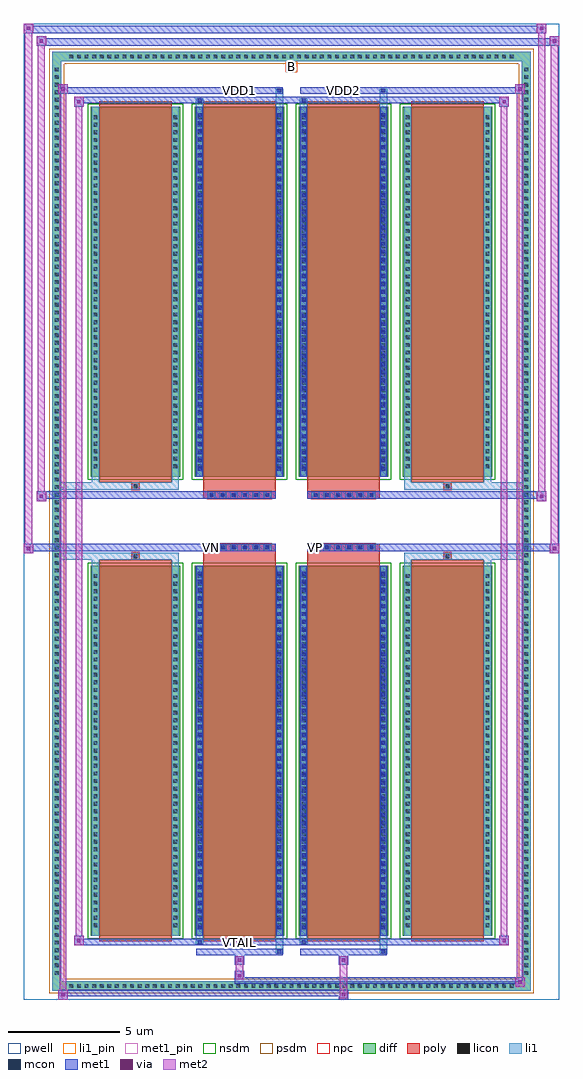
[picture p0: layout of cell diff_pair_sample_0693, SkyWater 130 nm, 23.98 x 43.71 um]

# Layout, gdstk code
import gdstk
lib = gdstk.Library(unit=1e-6, precision=5e-09)
def R(c, l, rs):  # rectangles x0, y0, x1, y1
    for r in rs: c.add(gdstk.rectangle(r[:2], r[2:], *l))
def A(c, l, x, y, w, h, nx, ny, dx, dy):  # array of equal rectangles
    R(c, l, [(x+i*dx, y+j*dy, x+i*dx+w, y+j*dy+h) for i in range(nx) for j in range(ny)])
def P(c, l, *ps):  # polygons
    for p in ps: c.add(gdstk.Polygon(p, *l))
pwell = (64, 44)
diff = (65, 20)
poly = (66, 20)
licon = (66, 44)
li1_pin = (67, 16)
li1 = (67, 20)
mcon = (67, 44)
met1_pin = (68, 16)
met1 = (68, 20)
via = (68, 44)
met2 = (69, 20)
nsdm = (93, 44)
psdm = (94, 20)
npc = (95, 20)

diff_pair_sample_0693 = lib.new_cell('diff_pair_sample_0693')
R(diff_pair_sample_0693, pwell, [(-11.99,-21.42,11.99,22.29), (-9.31,-19.61,-0.01,-0.805), (0.01,-19.61,9.31,-0.805), (-9.31,0.805,-0.01,19.61), (0.01,0.805,9.31,19.61)])
A(diff_pair_sample_0693, diff, -10.065, -21.02, 0.41, 0.41, 59, 2, 0.34, 41.63)
A(diff_pair_sample_0693, diff, -10.72, -20.435, 0.41, 0.41, 1, 120, 0, 0.34)
A(diff_pair_sample_0693, diff, 10.31, -20.435, 0.41, 0.41, 1, 120, 0, 0.34)
A(diff_pair_sample_0693, diff, -9, -18.565, 4.02, 16.58, 4, 2, 4.66, 20.55)
R(diff_pair_sample_0693, diff, [(-10.065,-21.02,10.065,-20.61), (-10.72,-20.435,-10.31,20.435), (10.31,-20.435,10.72,20.435), (-10.065,20.61,10.065,21.02)])
P(diff_pair_sample_0693, diff, [(10.72,21.02),(-10.72,21.02),(-10.72,-20.61),(-10.31,-20.61),(-10.31,20.61),(10.31,20.61),(10.31,-20.61),(-10.31,-20.61),(-10.72,-20.61),(-10.72,-21.02),(10.72,-21.02)])
A(diff_pair_sample_0693, poly, -8.61, -18.815, 3.24, 17.08, 4, 2, 4.66, 20.55)
A(diff_pair_sample_0693, poly, -3.745, -1.335, 0.33, 0.33, 6, 2, 0.5, 2.34)
A(diff_pair_sample_0693, poly, 0.915, -1.335, 0.33, 0.33, 6, 2, 0.5, 2.34)
R(diff_pair_sample_0693, poly, [(-7.155,-1.735,-6.825,-1.405), (-7.155,-1.735,-6.825,-1.405), (-3.95,-1.735,-0.71,-1.335), (0.71,-1.735,3.95,-1.335), (6.825,-1.735,7.155,-1.405), (6.825,-1.735,7.155,-1.405), (-3.95,-1.335,-0.71,-1.005), (0.71,-1.335,3.95,-1.005), (-3.95,1.005,-0.71,1.335), (0.71,1.005,3.95,1.335), (-3.95,1.335,-0.71,1.735), (0.71,1.335,3.95,1.735), (-7.155,1.405,-6.825,1.735), (-7.155,1.405,-6.825,1.735), (6.825,1.405,7.155,1.735), (6.825,1.405,7.155,1.735)])
A(diff_pair_sample_0693, licon, -9.945, -20.9, 0.17, 0.17, 59, 2, 0.34, 41.63)
A(diff_pair_sample_0693, licon, -10.6, -20.315, 0.17, 0.17, 1, 120, 0, 0.34)
A(diff_pair_sample_0693, licon, 10.43, -20.315, 0.17, 0.17, 1, 120, 0, 0.34)
A(diff_pair_sample_0693, licon, -8.86, -18.18, 0.17, 0.17, 1, 47, 0, 0.34)
A(diff_pair_sample_0693, licon, -5.29, -18.18, 0.17, 0.17, 1, 47, 0, 0.34)
A(diff_pair_sample_0693, licon, -4.2, -18.18, 0.17, 0.17, 1, 47, 0, 0.34)
A(diff_pair_sample_0693, licon, -0.63, -18.18, 0.17, 0.17, 1, 47, 0, 0.34)
A(diff_pair_sample_0693, licon, 0.46, -18.18, 0.17, 0.17, 1, 47, 0, 0.34)
A(diff_pair_sample_0693, licon, 4.03, -18.18, 0.17, 0.17, 1, 47, 0, 0.34)
A(diff_pair_sample_0693, licon, 5.12, -18.18, 0.17, 0.17, 1, 47, 0, 0.34)
A(diff_pair_sample_0693, licon, 8.69, -18.18, 0.17, 0.17, 1, 47, 0, 0.34)
A(diff_pair_sample_0693, licon, -3.665, -1.255, 0.17, 0.17, 6, 2, 0.5, 2.34)
A(diff_pair_sample_0693, licon, 0.995, -1.255, 0.17, 0.17, 6, 2, 0.5, 2.34)
A(diff_pair_sample_0693, licon, -8.86, 2.37, 0.17, 0.17, 1, 47, 0, 0.34)
A(diff_pair_sample_0693, licon, -5.29, 2.37, 0.17, 0.17, 1, 47, 0, 0.34)
A(diff_pair_sample_0693, licon, -4.2, 2.37, 0.17, 0.17, 1, 47, 0, 0.34)
A(diff_pair_sample_0693, licon, -0.63, 2.37, 0.17, 0.17, 1, 47, 0, 0.34)
A(diff_pair_sample_0693, licon, 0.46, 2.37, 0.17, 0.17, 1, 47, 0, 0.34)
A(diff_pair_sample_0693, licon, 4.03, 2.37, 0.17, 0.17, 1, 47, 0, 0.34)
A(diff_pair_sample_0693, licon, 5.12, 2.37, 0.17, 0.17, 1, 47, 0, 0.34)
A(diff_pair_sample_0693, licon, 8.69, 2.37, 0.17, 0.17, 1, 47, 0, 0.34)
R(diff_pair_sample_0693, licon, [(-7.075,-1.655,-6.905,-1.485), (6.905,-1.655,7.075,-1.485), (-7.075,1.485,-6.905,1.655), (6.905,1.485,7.075,1.655)])
R(diff_pair_sample_0693, li1_pin, [(-0.25,20.11,0.25,20.61)])
A(diff_pair_sample_0693, li1, -10.025, -20.98, 0.33, 0.33, 59, 2, 0.34, 41.63)
A(diff_pair_sample_0693, li1, -10.68, -20.395, 0.33, 0.33, 1, 120, 0, 0.34)
A(diff_pair_sample_0693, li1, 10.35, -20.395, 0.33, 0.33, 1, 120, 0, 0.34)
A(diff_pair_sample_0693, li1, -4.2, -18.28, 0.17, 0.17, 1, 45, 0, 0.36)
A(diff_pair_sample_0693, li1, -0.63, -18.28, 0.17, 0.17, 1, 45, 0, 0.36)
A(diff_pair_sample_0693, li1, 0.46, -18.28, 0.17, 0.17, 1, 45, 0, 0.36)
A(diff_pair_sample_0693, li1, 4.03, -18.28, 0.17, 0.17, 1, 45, 0, 0.36)
A(diff_pair_sample_0693, li1, -8.94, -18.26, 0.33, 0.33, 1, 47, 0, 0.34)
A(diff_pair_sample_0693, li1, -5.37, -18.26, 0.33, 0.33, 1, 47, 0, 0.34)
A(diff_pair_sample_0693, li1, -4.28, -18.26, 0.33, 0.33, 1, 47, 0, 0.34)
A(diff_pair_sample_0693, li1, -0.71, -18.26, 0.33, 0.33, 1, 47, 0, 0.34)
A(diff_pair_sample_0693, li1, 0.38, -18.26, 0.33, 0.33, 1, 47, 0, 0.34)
A(diff_pair_sample_0693, li1, 3.95, -18.26, 0.33, 0.33, 1, 47, 0, 0.34)
A(diff_pair_sample_0693, li1, 5.04, -18.26, 0.33, 0.33, 1, 47, 0, 0.34)
A(diff_pair_sample_0693, li1, 8.61, -18.26, 0.33, 0.33, 1, 47, 0, 0.34)
A(diff_pair_sample_0693, li1, -3.745, -1.335, 0.33, 0.33, 6, 2, 0.5, 2.34)
A(diff_pair_sample_0693, li1, 0.915, -1.335, 0.33, 0.33, 6, 2, 0.5, 2.34)
A(diff_pair_sample_0693, li1, -4.2, 2.27, 0.17, 0.17, 1, 45, 0, 0.36)
A(diff_pair_sample_0693, li1, -0.63, 2.27, 0.17, 0.17, 1, 45, 0, 0.36)
A(diff_pair_sample_0693, li1, 0.46, 2.27, 0.17, 0.17, 1, 45, 0, 0.36)
A(diff_pair_sample_0693, li1, 4.03, 2.27, 0.17, 0.17, 1, 45, 0, 0.36)
A(diff_pair_sample_0693, li1, -8.94, 2.29, 0.33, 0.33, 1, 47, 0, 0.34)
A(diff_pair_sample_0693, li1, -5.37, 2.29, 0.33, 0.33, 1, 47, 0, 0.34)
A(diff_pair_sample_0693, li1, -4.28, 2.29, 0.33, 0.33, 1, 47, 0, 0.34)
A(diff_pair_sample_0693, li1, -0.71, 2.29, 0.33, 0.33, 1, 47, 0, 0.34)
A(diff_pair_sample_0693, li1, 0.38, 2.29, 0.33, 0.33, 1, 47, 0, 0.34)
A(diff_pair_sample_0693, li1, 3.95, 2.29, 0.33, 0.33, 1, 47, 0, 0.34)
A(diff_pair_sample_0693, li1, 5.04, 2.29, 0.33, 0.33, 1, 47, 0, 0.34)
A(diff_pair_sample_0693, li1, 8.61, 2.29, 0.33, 0.33, 1, 47, 0, 0.34)
R(diff_pair_sample_0693, li1, [(-10.72,-21.02,-10.31,-20.61), (-10.72,-21.02,-10.31,-20.61), (-10.31,-21.02,10.31,-20.61), (10.31,-21.02,10.72,-20.61), (10.31,-21.02,10.72,-20.61), (-10.72,-20.61,-10.31,20.61), (10.31,-20.61,10.72,20.61), (-0.71,-19.37,-0.38,-18.565), (-0.63,-19.37,-0.46,-19.2), (3.95,-19.37,4.28,-18.565), (4.03,-19.37,4.2,-19.2), (-4.28,-18.94,-3.95,-18.565), (-4.2,-18.94,-4.03,-18.77), (0.38,-18.94,0.71,-18.565), (0.46,-18.94,0.63,-18.77), (-8.94,-18.565,-8.61,-1.985), (-5.37,-18.565,-5.04,-1.985), (-4.28,-18.565,-3.95,-1.985), (-0.71,-18.565,-0.38,-1.985), (0.38,-18.565,0.71,-1.985), (3.95,-18.565,4.28,-1.985), (5.04,-18.565,5.37,-1.985), (8.61,-18.565,8.94,-1.985), (-4.2,-18.28,-4.03,-2.27), (-0.63,-18.28,-0.46,-2.27), (0.46,-18.28,0.63,-2.27), (4.03,-18.28,4.2,-2.27), (-8.94,-1.985,-8.61,-1.405), (-5.37,-1.985,-5.04,-1.405), (5.04,-1.985,5.37,-1.405), (8.61,-1.985,8.94,-1.405), (-10.72,-1.735,-7.155,-1.405), (-8.94,-1.735,-7.155,-1.405), (-7.155,-1.735,-6.825,-1.405), (-6.825,-1.735,-5.04,-1.405), (5.04,-1.735,6.825,-1.405), (6.825,-1.735,7.155,-1.405), (6.825,-1.735,10.72,-1.405), (7.155,-1.735,8.94,-1.405), (-10.72,1.405,-7.155,1.735), (-8.94,1.405,-7.155,1.735), (-8.94,1.405,-8.61,1.985), (-7.155,1.405,-6.825,1.735), (-6.825,1.405,-5.04,1.735), (-5.37,1.405,-5.04,1.985), (5.04,1.405,6.825,1.735), (5.04,1.405,5.37,1.985), (6.825,1.405,7.155,1.735), (6.825,1.405,10.72,1.735), (7.155,1.405,8.94,1.735), (8.61,1.405,8.94,1.985), (-8.94,1.985,-8.61,18.565), (-5.37,1.985,-5.04,18.565), (-4.28,1.985,-3.95,18.565), (-0.71,1.985,-0.38,18.565), (0.38,1.985,0.71,18.565), (3.95,1.985,4.28,18.565), (5.04,1.985,5.37,18.565), (8.61,1.985,8.94,18.565), (-4.2,2.27,-4.03,18.28), (-0.63,2.27,-0.46,18.28), (0.46,2.27,0.63,18.28), (4.03,2.27,4.2,18.28), (-4.28,18.565,-3.95,18.94), (-0.71,18.565,-0.38,19.37), (0.38,18.565,0.71,18.94), (3.95,18.565,4.28,19.37), (-4.2,18.77,-4.03,18.94), (0.46,18.77,0.63,18.94), (-0.63,19.2,-0.46,19.37), (4.03,19.2,4.2,19.37), (-10.72,20.61,-10.31,21.02), (-10.72,20.61,-10.31,21.02), (-10.31,20.61,10.31,21.02), (10.31,20.61,10.72,21.02), (10.31,20.61,10.72,21.02)])
A(diff_pair_sample_0693, mcon, -4.2, -18.28, 0.17, 0.17, 1, 45, 0, 0.36)
A(diff_pair_sample_0693, mcon, -0.63, -18.28, 0.17, 0.17, 1, 45, 0, 0.36)
A(diff_pair_sample_0693, mcon, 0.46, -18.28, 0.17, 0.17, 1, 45, 0, 0.36)
A(diff_pair_sample_0693, mcon, 4.03, -18.28, 0.17, 0.17, 1, 45, 0, 0.36)
A(diff_pair_sample_0693, mcon, -3.665, -1.255, 0.17, 0.17, 6, 2, 0.5, 2.34)
A(diff_pair_sample_0693, mcon, 0.995, -1.255, 0.17, 0.17, 6, 2, 0.5, 2.34)
A(diff_pair_sample_0693, mcon, -4.2, 2.27, 0.17, 0.17, 1, 45, 0, 0.36)
A(diff_pair_sample_0693, mcon, -0.63, 2.27, 0.17, 0.17, 1, 45, 0, 0.36)
A(diff_pair_sample_0693, mcon, 0.46, 2.27, 0.17, 0.17, 1, 45, 0, 0.36)
A(diff_pair_sample_0693, mcon, 4.03, 2.27, 0.17, 0.17, 1, 45, 0, 0.36)
R(diff_pair_sample_0693, mcon, [(-0.63,-19.37,-0.46,-19.2), (4.03,-19.37,4.2,-19.2), (-4.2,-18.94,-4.03,-18.77), (0.46,-18.94,0.63,-18.77), (-4.2,18.77,-4.03,18.94), (0.46,18.77,0.63,18.94), (-0.63,19.2,-0.46,19.37), (4.03,19.2,4.2,19.37)])
R(diff_pair_sample_0693, met1_pin, [(-2.465,-18.98,-2.195,-18.71), (-3.715,-1.295,-3.445,-1.025), (0.945,-1.295,1.215,-1.025), (-2.465,19.16,-2.195,19.43), (2.195,19.16,2.465,19.43)])
A(diff_pair_sample_0693, met1, -4.26, -18.34, 0.29, 0.29, 1, 45, 0, 0.36)
A(diff_pair_sample_0693, met1, -0.69, -18.34, 0.29, 0.29, 1, 45, 0, 0.36)
A(diff_pair_sample_0693, met1, 0.4, -18.34, 0.29, 0.29, 1, 45, 0, 0.36)
A(diff_pair_sample_0693, met1, 3.97, -18.34, 0.29, 0.29, 1, 45, 0, 0.36)
A(diff_pair_sample_0693, met1, -3.725, -1.315, 0.29, 0.29, 6, 2, 0.5, 2.34)
A(diff_pair_sample_0693, met1, 0.935, -1.315, 0.29, 0.29, 6, 2, 0.5, 2.34)
A(diff_pair_sample_0693, met1, -4.26, 2.21, 0.29, 0.29, 1, 45, 0, 0.36)
A(diff_pair_sample_0693, met1, -0.69, 2.21, 0.29, 0.29, 1, 45, 0, 0.36)
A(diff_pair_sample_0693, met1, 0.4, 2.21, 0.29, 0.29, 1, 45, 0, 0.36)
A(diff_pair_sample_0693, met1, 3.97, 2.21, 0.29, 0.29, 1, 45, 0, 0.36)
R(diff_pair_sample_0693, met1, [(-10.45,-21.42,-10.02,-20.99), (2.115,-21.42,2.545,-20.99), (-10.45,-21.28,2.545,-20.99), (10.02,-20.85,10.45,-20.42), (-2.545,-20.71,10.45,-20.42), (-2.545,-20.57,-2.115,-20.14), (-2.545,-19.86,-2.115,-19.43), (2.115,-19.86,2.545,-19.43), (-4.26,-19.43,-0.4,-19.14), (-0.69,-19.43,-0.4,-19.14), (0.4,-19.43,4.26,-19.14), (3.97,-19.43,4.26,-19.14), (-9.74,-19,-9.31,-18.57), (-9.74,-19,-4.26,-18.71), (-4.26,-19,-3.97,-18.71), (-4.26,-19,-0.4,-18.71), (-0.4,-19,0.4,-18.71), (0.4,-19,0.69,-18.71), (0.4,-19,4.26,-18.71), (4.26,-19,9.74,-18.71), (9.31,-19,9.74,-18.57), (-4.26,-18.565,-3.97,-1.985), (-0.69,-18.565,-0.4,-1.985), (0.4,-18.565,0.69,-1.985), (3.97,-18.565,4.26,-1.985), (-11.99,-1.435,-11.56,-1.005), (11.56,-1.435,11.99,-1.005), (-11.99,-1.335,-0.71,-1.005), (-3.95,-1.335,-0.71,-1.005), (0.71,-1.335,3.95,-1.005), (0.71,-1.335,11.99,-1.005), (-11.42,0.905,-10.99,1.335), (10.99,0.905,11.42,1.335), (-11.42,1.005,-3.95,1.335), (-3.95,1.005,-0.71,1.335), (0.71,1.005,3.95,1.335), (3.95,1.005,11.42,1.335), (-4.26,1.985,-3.97,18.565), (-0.69,1.985,-0.4,18.565), (0.4,1.985,0.69,18.565), (3.97,1.985,4.26,18.565), (-9.74,18.57,-9.31,19), (9.31,18.57,9.74,19), (-9.74,18.71,-4.26,19), (-4.26,18.71,-3.97,19), (-4.26,18.71,-0.4,19), (-0.4,18.71,0.4,19), (0.4,18.71,0.69,19), (0.4,18.71,4.26,19), (4.26,18.71,9.74,19), (-10.45,19.14,-10.02,19.57), (-10.45,19.14,-4.26,19.43), (-4.26,19.14,-0.4,19.43), (-0.69,19.14,-0.4,19.43), (0.4,19.14,4.26,19.43), (3.97,19.14,4.26,19.43), (4.26,19.14,10.45,19.43), (10.02,19.14,10.45,19.57), (-11.42,21.29,-10.99,21.72), (-11.42,21.29,-9.31,21.62), (-9.31,21.29,9.31,21.62), (9.31,21.29,11.99,21.62), (11.56,21.29,11.99,21.72), (-11.99,21.86,-11.56,22.29), (-11.99,21.86,-9.31,22.19), (-9.31,21.86,9.31,22.19), (9.31,21.86,11.42,22.19), (10.99,21.86,11.42,22.29)])
R(diff_pair_sample_0693, via, [(-10.31,-21.28,-10.16,-21.13), (2.255,-21.28,2.405,-21.13), (10.16,-20.71,10.31,-20.56), (-2.405,-20.43,-2.255,-20.28), (-2.405,-19.72,-2.255,-19.57), (2.255,-19.72,2.405,-19.57), (-9.6,-18.86,-9.45,-18.71), (9.45,-18.86,9.6,-18.71), (-11.85,-1.295,-11.7,-1.145), (11.7,-1.295,11.85,-1.145), (-11.28,1.045,-11.13,1.195), (11.13,1.045,11.28,1.195), (-9.6,18.71,-9.45,18.86), (9.45,18.71,9.6,18.86), (-10.31,19.28,-10.16,19.43), (10.16,19.28,10.31,19.43), (-11.28,21.43,-11.13,21.58), (11.7,21.43,11.85,21.58), (-11.85,22,-11.7,22.15), (11.13,22,11.28,22.15)])
R(diff_pair_sample_0693, met2, [(-10.45,-21.42,-10.02,-20.99), (-10.38,-21.42,-10.09,19.57), (-10.09,-21.42,-10.02,-20.99), (-10.4,-21.37,-10.07,-21.04), (2.165,-21.37,2.495,-21.04), (2.165,-21.04,2.495,-19.81), (10.02,-20.85,10.45,-20.42), (10.09,-20.85,10.38,19.57), (10.38,-20.85,10.45,-20.42), (10.07,-20.8,10.4,-20.47), (-2.495,-20.52,-2.165,-20.19), (-2.495,-20.19,-2.165,-19.81), (-2.495,-19.81,-2.165,-19.48), (2.165,-19.81,2.495,-19.48), (-9.74,-19,-9.31,-18.57), (-9.67,-19,-9.38,19), (-9.38,-19,-9.31,-18.57), (9.31,-19,9.74,-18.57), (9.38,-19,9.67,19), (9.67,-19,9.74,-18.57), (-9.69,-18.95,-9.36,-18.62), (9.36,-18.95,9.69,-18.62), (-11.99,-1.435,-11.56,-1.005), (-11.94,-1.435,-11.61,22.29), (-11.61,-1.435,-11.56,-1.005), (11.56,-1.435,11.99,-1.005), (11.61,-1.435,11.94,21.72), (11.94,-1.435,11.99,-1.005), (-11.94,-1.385,-11.61,-1.055), (11.61,-1.385,11.94,-1.055), (-11.42,0.905,-10.99,1.335), (-11.37,0.905,-11.04,21.72), (-11.04,0.905,-10.99,1.335), (10.99,0.905,11.42,1.335), (11.04,0.905,11.37,22.29), (11.37,0.905,11.42,1.335), (-11.37,0.955,-11.04,1.285), (11.04,0.955,11.37,1.285), (-9.74,18.57,-9.31,19), (-9.38,18.57,-9.31,19), (9.31,18.57,9.74,19), (9.67,18.57,9.74,19), (-9.69,18.62,-9.36,18.95), (9.36,18.62,9.69,18.95), (-10.45,19.14,-10.02,19.57), (-10.09,19.14,-10.02,19.57), (10.02,19.14,10.45,19.57), (10.38,19.14,10.45,19.57), (-10.4,19.19,-10.07,19.52), (10.07,19.19,10.4,19.52), (-11.42,21.29,-10.99,21.72), (-11.04,21.29,-10.99,21.72), (11.56,21.29,11.99,21.72), (11.94,21.29,11.99,21.72), (-11.37,21.34,-11.04,21.67), (11.61,21.34,11.94,21.67), (-11.99,21.86,-11.56,22.29), (-11.61,21.86,-11.56,22.29), (10.99,21.86,11.42,22.29), (11.37,21.86,11.42,22.29), (-11.94,21.91,-11.61,22.24), (11.04,21.91,11.37,22.24)])
A(diff_pair_sample_0693, nsdm, -9.13, -18.695, 4.28, 16.84, 4, 2, 4.66, 20.55)
P(diff_pair_sample_0693, psdm, [(10.85,21.15),(-10.85,21.15),(-10.85,-20.48),(-10.18,-20.48),(-10.18,20.48),(10.18,20.48),(10.18,-20.48),(-10.18,-20.48),(-10.85,-20.48),(-10.85,-21.15),(10.85,-21.15)])
A(diff_pair_sample_0693, npc, -3.765, -1.355, 0.37, 0.37, 6, 2, 0.5, 2.34)
A(diff_pair_sample_0693, npc, 0.895, -1.355, 0.37, 0.37, 6, 2, 0.5, 2.34)
R(diff_pair_sample_0693, npc, [(-7.175,-1.755,-6.805,-1.385), (6.805,-1.755,7.175,-1.385), (-3.765,-1.355,-2.895,-0.985), (-3.765,-1.355,-2.895,-0.985), (-3.265,-1.355,-2.395,-0.985), (-3.265,-1.355,-2.395,-0.985), (-2.765,-1.355,-1.895,-0.985), (-2.765,-1.355,-1.895,-0.985), (-2.265,-1.355,-1.395,-0.985), (-2.265,-1.355,-1.395,-0.985), (-1.765,-1.355,-0.895,-0.985), (-1.765,-1.355,-0.895,-0.985), (0.895,-1.355,1.765,-0.985), (0.895,-1.355,1.765,-0.985), (1.395,-1.355,2.265,-0.985), (1.395,-1.355,2.265,-0.985), (1.895,-1.355,2.765,-0.985), (1.895,-1.355,2.765,-0.985), (2.395,-1.355,3.265,-0.985), (2.395,-1.355,3.265,-0.985), (2.895,-1.355,3.765,-0.985), (2.895,-1.355,3.765,-0.985), (-3.765,0.985,-2.895,1.355), (-3.765,0.985,-2.895,1.355), (-3.265,0.985,-2.395,1.355), (-3.265,0.985,-2.395,1.355), (-2.765,0.985,-1.895,1.355), (-2.765,0.985,-1.895,1.355), (-2.265,0.985,-1.395,1.355), (-2.265,0.985,-1.395,1.355), (-1.765,0.985,-0.895,1.355), (-1.765,0.985,-0.895,1.355), (0.895,0.985,1.765,1.355), (0.895,0.985,1.765,1.355), (1.395,0.985,2.265,1.355), (1.395,0.985,2.265,1.355), (1.895,0.985,2.765,1.355), (1.895,0.985,2.765,1.355), (2.395,0.985,3.265,1.355), (2.395,0.985,3.265,1.355), (2.895,0.985,3.765,1.355), (2.895,0.985,3.765,1.355), (-7.175,1.385,-6.805,1.755), (6.805,1.385,7.175,1.755)])
diff_pair_sample_0693.add(gdstk.Label('VTAIL', (-2.33,-18.845), layer=68, texttype=5))
diff_pair_sample_0693.add(gdstk.Label('VN', (-3.58,-1.16), layer=68, texttype=5))
diff_pair_sample_0693.add(gdstk.Label('VP', (1.08,-1.16), layer=68, texttype=5))
diff_pair_sample_0693.add(gdstk.Label('B', (0,20.36), layer=67, texttype=5))
diff_pair_sample_0693.add(gdstk.Label('VDD2', (2.33,19.295), layer=68, texttype=5))
diff_pair_sample_0693.add(gdstk.Label('VDD1', (-2.33,19.295), layer=68, texttype=5))

lib.write_gds('diff_pair_sample_0693.gds')
